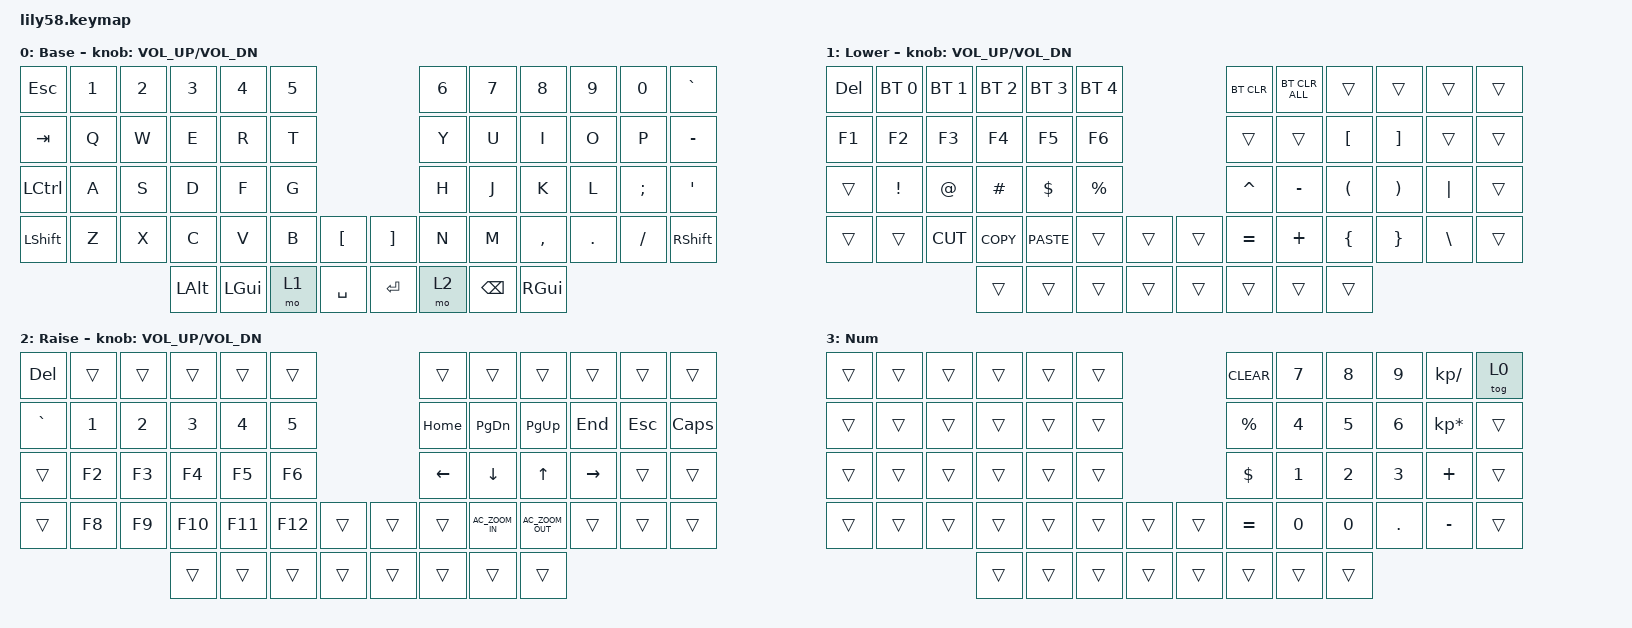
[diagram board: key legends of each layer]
/*
 * Copyright (c) 2020 The ZMK Contributors
 *
 * SPDX-License-Identifier: MIT
 */

#include <behaviors.dtsi>
#include <dt-bindings/zmk/bt.h>
#include <dt-bindings/zmk/keys.h>

/ {
    combos {
        compatible = "zmk,combos";

        third_layer {
            bindings = <&tog 3>;
            key-positions = <57 51>;
        };
    };

    keymap {
        compatible = "zmk,keymap";

        default_layer {
            // ------------------------------------------------------------------------------------------------------------
            // |  ESC  |  1  |  2  |  3   |  4   |  5   |                   |  6   |  7    |  8    |  9   |   0   |   `   |
            // |  TAB  |  Q  |  W  |  E   |  R   |  T   |                   |  Y   |  U    |  I    |  O   |   P   |   -   |
            // |  CTRL |  A  |  S  |  D   |  F   |  G   |                   |  H   |  J    |  K    |  L   |   ;   |   '   |
            // | SHIFT |  Z  |  X  |  C   |  V   |  B   |   "["  |  |  "]"  |  N   |  M    |  ,    |  .   |   /   | SHIFT |
            //                     | ALT  | GUI  | LOWER|  SPACE |  | ENTER | RAISE| BSPC  | GUI   |

            display-name = "Base";
            bindings = <
&kp ESC    &kp N1  &kp N2  &kp N3    &kp N4    &kp N5                         &kp N6  &kp N7    &kp N8     &kp N9   &kp N0    &kp GRAVE
&kp TAB    &kp Q   &kp W   &kp E     &kp R     &kp T                          &kp Y   &kp U     &kp I      &kp O    &kp P     &kp MINUS
&kp LCTRL  &kp A   &kp S   &kp D     &kp F     &kp G                          &kp H   &kp J     &kp K      &kp L    &kp SEMI  &kp SQT
&kp LSHFT  &kp Z   &kp X   &kp C     &kp V     &kp B   &kp LBKT     &kp RBKT  &kp N   &kp M     &kp COMMA  &kp DOT  &kp FSLH  &kp RSHFT
                           &kp LALT  &kp LGUI  &mo 1   &kp SPACE    &kp RET   &mo 2   &kp BSPC  &kp RGUI
            >;

            sensor-bindings = <&inc_dec_kp C_VOL_UP C_VOL_DN>;
        };

        lower_layer {
            // ------------------------------------------------------------------------------------------------------------
            // | BTCLR | BT1 | BT2 |  BT3 |  BT4 |  BT5 |                   |      |       |       |      |       |       |
            // |  F1   |  F2 |  F3 |  F4  |  F5  |  F6  |                   |  F7  |  F8   |  F9   |  F10 |  F11  |  F12  |
            // |   `   |  !  |  @  |  #   |  $   |  %   |                   |  ^   |  &    |  *    |  (   |   )   |   ~   |
            // |       |     |     |      |      |      |        |  |       |      |  _    |  +    |  {   |   }   |  "|"  |
            //                     |      |      |      |        |  |       |      |       |       |

            display-name = "Lower";
            bindings = <
&kp DELETE  &bt BT_SEL 0  &bt BT_SEL 1  &bt BT_SEL 2  &bt BT_SEL 3  &bt BT_SEL 4                    &bt BT_CLR  &bt BT_CLR_ALL  &trans    &trans           &trans         &trans
&kp F1      &kp F2        &kp F3        &kp F4        &kp F5        &kp F6                          &trans      &trans          &kp LBKT  &kp RBKT         &trans         &trans
&trans      &kp EXCL      &kp AT        &kp HASH      &kp DOLLAR    &kp PRCNT                       &kp CARET   &kp MINUS       &kp LPAR  &kp RPAR         &kp PIPE       &trans
&trans      &trans        &kp K_CUT     &kp K_COPY    &kp K_PASTE   &trans        &trans    &trans  &kp EQUAL   &kp PLUS        &kp LBRC  &kp RIGHT_BRACE  &kp BACKSLASH  &trans
                                        &trans        &trans        &trans        &trans    &trans  &trans      &trans          &trans
            >;

            sensor-bindings = <&inc_dec_kp C_VOL_UP C_VOL_DN>;
        };

        raise_layer {
            // ------------------------------------------------------------------------------------------------------------
            // |       |     |     |      |      |      |                   |      |       |       |      |       |       |
            // |   `   |  1  |  2  |  3   |  4   |  5   |                   |  6   |   7   |   8   |  9   |   0   |       |
            // |   F1  |  F2 |  F3 |  F4  |  F5  |  F6  |                   |      |   <-  |   v   |  ^   |  ->   |       |
            // |   F7  |  F8 |  F9 |  F10 |  F11 |  F12 |        |  |       |  +   |   -   |   =   |  [   |   ]   |   \   |
            //                     |      |      |      |        |  |       |      |       |       |

            display-name = "Raise";
            bindings = <
&kp DELETE  &trans  &trans  &trans   &trans   &trans                     &trans    &trans            &trans             &trans     &trans      &trans
&kp GRAVE   &kp N1  &kp N2  &kp N3   &kp N4   &kp N5                     &kp HOME  &kp PAGE_DOWN     &kp PAGE_UP        &kp END    &kp ESCAPE  &kp CAPSLOCK
&trans      &kp F2  &kp F3  &kp F4   &kp F5   &kp F6                     &kp LEFT  &kp DOWN          &kp UP             &kp RIGHT  &trans      &trans
&trans      &kp F8  &kp F9  &kp F10  &kp F11  &kp F12  &trans    &trans  &trans    &kp C_AC_ZOOM_IN  &kp C_AC_ZOOM_OUT  &trans     &trans      &trans
                            &trans   &trans   &trans   &trans    &trans  &trans    &trans            &trans
            >;

            sensor-bindings = <&inc_dec_kp C_VOL_UP C_VOL_DN>;
        };

        num_layer {
            bindings = <
&trans  &trans  &trans  &trans  &trans  &trans                    &kp CLEAR    &kp NUMBER_7  &kp NUMBER_8  &kp NUMBER_9  &kp KP_DIVIDE    &tog 0
&trans  &trans  &trans  &trans  &trans  &trans                    &kp PERCENT  &kp NUMBER_4  &kp NUMBER_5  &kp NUMBER_6  &kp KP_MULTIPLY  &trans
&trans  &trans  &trans  &trans  &trans  &trans                    &kp DOLLAR   &kp NUMBER_1  &kp NUMBER_2  &kp NUMBER_3  &kp PLUS         &trans
&trans  &trans  &trans  &trans  &trans  &trans  &trans    &trans  &kp EQUAL    &kp NUMBER_0  &kp NUMBER_0  &kp DOT       &kp MINUS        &trans
                        &trans  &trans  &trans  &trans    &trans  &trans       &trans        &trans
            >;

            label = "Num";
        };

        extra_2 { status = "reserved"; };

        extra_3 { status = "reserved"; };
    };

    conditional_layers { compatible = "zmk,conditional-layers"; };
};
